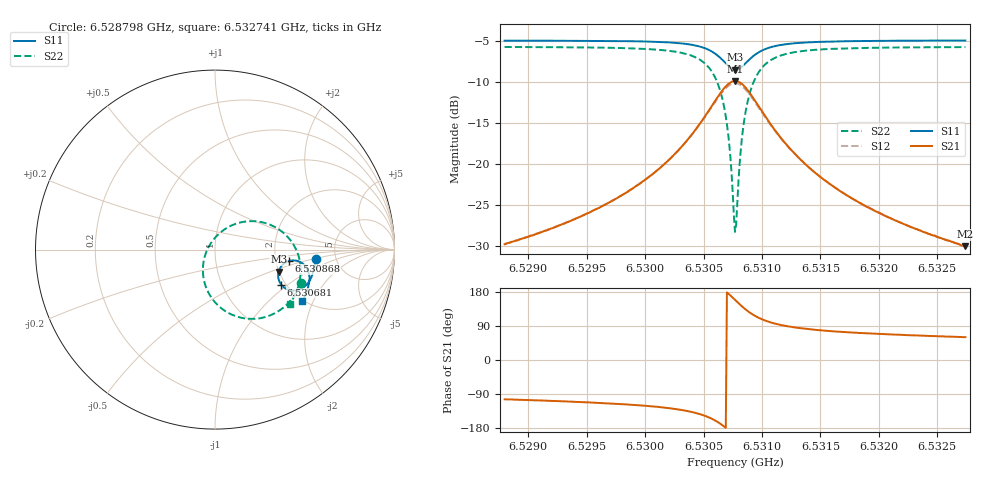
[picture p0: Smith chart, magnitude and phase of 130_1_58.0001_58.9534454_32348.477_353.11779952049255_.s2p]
#  HZ  S  RI  R  50.00
! Rohde & Schwarz Vector Network Analyzer
! Rohde-Schwarz,ZNB20-2Port,1311601062101988,3.16
! Created: UTC 3/21/2024, 12:56:04 AM
! freq[Hz]  re:S11  im:S11  re:S21  im:S21  re:S12  im:S12  re:S22  im:S22
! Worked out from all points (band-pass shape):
!   401 points, 6.528798 GHz to 6.532741 GHz, reference 50 ohm
!   highest |S21| = -9.90 dB at 6.530769 GHz (marker M1); lowest = -30.0 dB at 6.532741 GHz (marker M2)
!   |S21| within 3 dB of the highest: 6.530572 GHz to 6.530968 GHz (395.5 kHz wide, 0.00606 % of centre)
!   lowest |S11| = -8.5 dB at 6.530769 GHz (marker M3), VSWR 2.20, Z = 99.6 - j28.3 ohm
!   |S11| at or under -10 dB: nowhere
!   |S22| runs from -28.3 to -5.8 dB; largest |S21 - S12| = 0.013
!   S11 on the Smith chart (normalised r, x): 6.528798 GHz: 3.48, -0.54; 6.530681 GHz: 1.89, -0.89; 6.530868 GHz: 2.36, -0.36; 6.532741 GHz: 1.98, -1.66
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6.5287978e9  0.5605 -0.0534  -0.00765 -0.0316  -0.00844 -0.0315  0.4814 -0.184
6.5294582e9  0.5513 -0.1095  -0.0174 -0.045  -0.0185 -0.0447  0.449 -0.2465
6.5298328e9  0.5401 -0.1454  -0.0303 -0.0593  -0.0319 -0.0587  0.4145 -0.2917
6.5301186e9  0.5239 -0.1776  -0.0525 -0.0774  -0.0547 -0.076  0.3642 -0.3361
6.5303454e9  0.4968 -0.2082  -0.0937 -0.0979  -0.0968 -0.0946  0.2801 -0.3757
6.5305129e9  0.452 -0.2281  -0.1645 -0.1051  -0.1673 -0.0981  0.1489 -0.3802
6.5306115e9  0.4053 -0.2229  -0.2373 -0.0779  -0.2364 -0.0675  0.0276 -0.3207
6.5306805e9  0.3686 -0.1948  -0.291 -0.0174  -0.2846 -0.00658  -0.051 -0.2077
6.5307199e9  0.3545 -0.1658  -0.3079 0.0376  -0.2982 0.0464  -0.0677 -0.1134
6.5307594e9  0.3529 -0.131  -0.3034 0.1006  -0.2916 0.1056  -0.0478 -0.011
6.5307692e9  0.3547 -0.1221  -0.2982 0.1161  -0.2862 0.12  -0.0363 0.0131
6.5307791e9  0.3576 -0.1135  -0.2917 0.1309  -0.2798 0.1338  -0.0227 0.0363
6.5307889e9  0.3614 -0.1054  -0.284 0.1452  -0.272 0.1469  -0.00696 0.0578
6.5308284e9  0.3833 -0.0785  -0.2409 0.1907  -0.2309 0.1889  0.0717 0.1241
6.5308678e9  0.411 -0.0637  -0.1902 0.2151  -0.1829 0.2118  0.1599 0.1548
6.5309368e9  0.4559 -0.0625  -0.1117 0.218  -0.1079 0.2147  0.2919 0.1441
6.5310354e9  0.4958 -0.0841  -0.0438 0.1864  -0.0421 0.1845  0.4017 0.0743
6.5311832e9  0.5195 -0.1204  -0.00257 0.138  -0.00122 0.1373  0.462 -0.0244
6.5314297e9  0.5264 -0.1643  0.0152 0.0904  0.0164 0.0901  0.4775 -0.1249
6.5317254e9  0.5215 -0.2007  0.0185 0.0617  0.0195 0.0616  0.4679 -0.192
6.5320901e9  0.5108 -0.2352  0.0179 0.0436  0.0188 0.0433  0.4497 -0.2433
6.5327407e9  0.4871 -0.2857  0.0156 0.0275  0.0162 0.0272  0.4158 -0.3034
